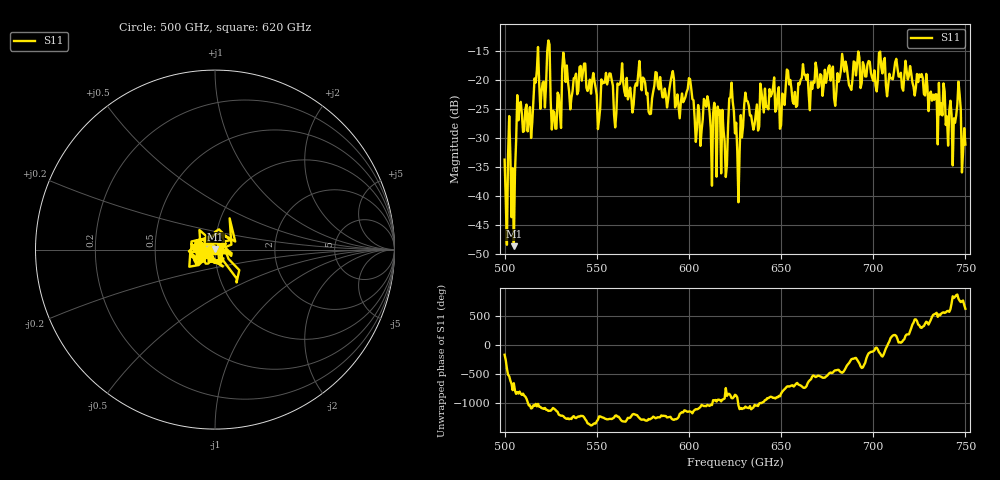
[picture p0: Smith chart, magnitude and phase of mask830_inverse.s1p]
!Created with skrf (http://scikit-rf.org).
# GHz S MA R 50.0
!freq magS11 angS11
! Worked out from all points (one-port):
!   401 points, 500 GHz to 750 GHz, reference 50 ohm
!   lowest |S11| = -48.6 dB at 505 GHz (marker M1), VSWR 1.01, Z = 50.2 + j0.32 ohm
!   |S11| at or under -10 dB: start of sweep to end of sweep
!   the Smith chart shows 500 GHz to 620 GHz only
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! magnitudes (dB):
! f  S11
! 500 GHz  -33.7
! 503.1 GHz  -33.0
! 505 GHz  -48.6
! 508.1 GHz  -24.2
! 513.8 GHz  -24.7
! 516.9 GHz  -20.4
! 520.6 GHz  -20.5
! 523.8 GHz  -13.2
! 526.9 GHz  -25.6
! 531.2 GHz  -18.0
! 542.5 GHz  -18.7
! 550.6 GHz  -28.4
! 562.5 GHz  -20.7
! 593.8 GHz  -22.5
! 600 GHz  -19.7
! 605 GHz  -24.3
! 609.4 GHz  -24.6
! 620 GHz  -36.7
! 622.5 GHz  -23.0
! 625 GHz  -29.2
! 627.5 GHz  -32.4
! 631.2 GHz  -23.5
! 656.2 GHz  -23.6
! 687.5 GHz  -21.2
! 718.8 GHz  -19.9
! 741.9 GHz  -23.6
! 746.2 GHz  -20.3
! 750 GHz  -31.1
